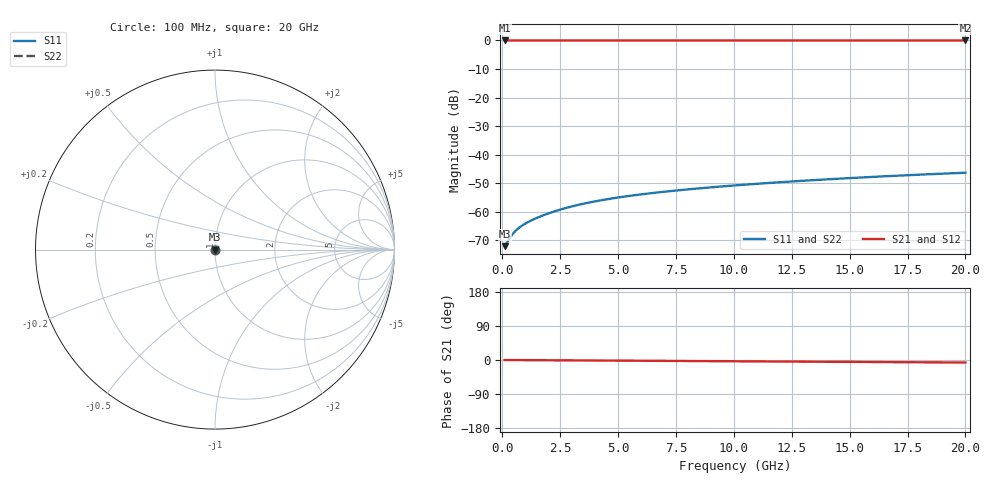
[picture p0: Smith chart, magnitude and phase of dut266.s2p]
! Touchstone file exported from HFSS 2026.1.0
!  File:  C:/ffzhzh/LocalFiles/Ansys_Project_Files/temp_train_TSV_266_1782993211_6248.aedt
!  Generated:  07:54:59 PM Jul  2, 2026
!  Design:  TSV
!  Project:  temp_train_TSV_266_1782993211_6248
! Variables:
!  h_bsmrdl = 2um
!  h_ox = 20um
!  h_rdl = 5um
!  h_sub = 68.61um
!  h_tmrdl = 5um
!  h_tsv = 68.61um
!  h_via = 3um
!  l_bsmrdl = 300um
!  l_sub = 412.52um
!  l_tmrdl = 200um
!  m_sub = 200um
!  pitch = 26.72um
!  r_tsv = 6.26um
!  s_tmrdl = 10um
!  w_bsmrdl = 18um
!  w_sub = 500um
!  w_tmrdl = 12um
!  x_tsv_center1 = 206um
!  x_tsv_center2 = 524um
!  x_tsv_center3 = 736um
!  x_tsv_center4 = 1054um
!  x_tsv_center5 = 1266um
!  x_tsv_center6 = 1584um
# GHz S MA R 50.000000
! Terminal data exported
! Port[1] = TSV1_1_T1
! Port[2] = TSV1_1_T2
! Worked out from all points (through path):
!   200 points, 100 MHz to 20 GHz, reference 50 ohm
!   highest |S21| = 0.00 dB at 100 MHz (marker M1); lowest = 0.0 dB at 20 GHz (marker M2)
!   lowest |S11| = -72.0 dB at 100 MHz (marker M3), VSWR 1.00, Z = 50 + j0.00692 ohm
!   |S11| at or under -10 dB: start of sweep to end of sweep
!   |S22| runs from -72.0 to -46.3 dB; largest |S21 - S12| = 3.7e-15
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0.1  0.0002505 16.0  0.9998 -0.0  0.9998 -0.0  0.0002505 16.0
! Gamma 0 0 0 0
! Port Impedance 50 0 50 0
0.3  0.000336 35.1  0.9997 -0.1  0.9997 -0.1  0.000336 35.1
0.4  0.0003856 39.4  0.9997 -0.1  0.9997 -0.1  0.0003856 39.4
0.5  0.0004329 42.0  0.9997 -0.2  0.9997 -0.2  0.0004329 42.0
0.6  0.0004767 43.8  0.9997 -0.2  0.9997 -0.2  0.0004767 43.8
0.8  0.000555 46.4  0.9996 -0.3  0.9996 -0.3  0.000555 46.4
1.1  0.0006581 49.3  0.9996 -0.4  0.9996 -0.4  0.0006581 49.3
1.3  0.0007225 50.9  0.9995 -0.4  0.9995 -0.4  0.0007225 50.9
1.6  0.0008168 53.1  0.9995 -0.5  0.9995 -0.5  0.0008168 53.1
2.2  0.001002 56.1  0.9994 -0.7  0.9994 -0.7  0.001002 56.1
2.8  0.001183 58.0  0.9994 -1.0  0.9994 -1.0  0.001183 58.0
3.5  0.001385 59.2  0.9993 -1.2  0.9993 -1.2  0.001385 59.2
4.2  0.001576 59.9  0.9992 -1.4  0.9992 -1.4  0.001576 59.9
5  0.001781 60.5  0.9992 -1.7  0.9992 -1.7  0.001781 60.5
5.8  0.001975 60.9  0.9991 -2.0  0.9991 -2.0  0.001975 60.9
6.8  0.002205 61.3  0.999 -2.3  0.999 -2.3  0.002205 61.3
8.3  0.002533 61.9  0.9989 -2.8  0.9989 -2.8  0.002533 61.9
10.1  0.002912 62.5  0.9988 -3.4  0.9988 -3.4  0.002912 62.5
11.7  0.00324 62.9  0.9987 -3.9  0.9987 -3.9  0.00324 62.9
13.4  0.003582 63.2  0.9986 -4.5  0.9986 -4.5  0.003582 63.2
16.7  0.004225 63.3  0.9985 -5.6  0.9985 -5.6  0.004225 63.3
20  0.004836 63.0  0.9983 -6.6  0.9983 -6.6  0.004836 63.0
